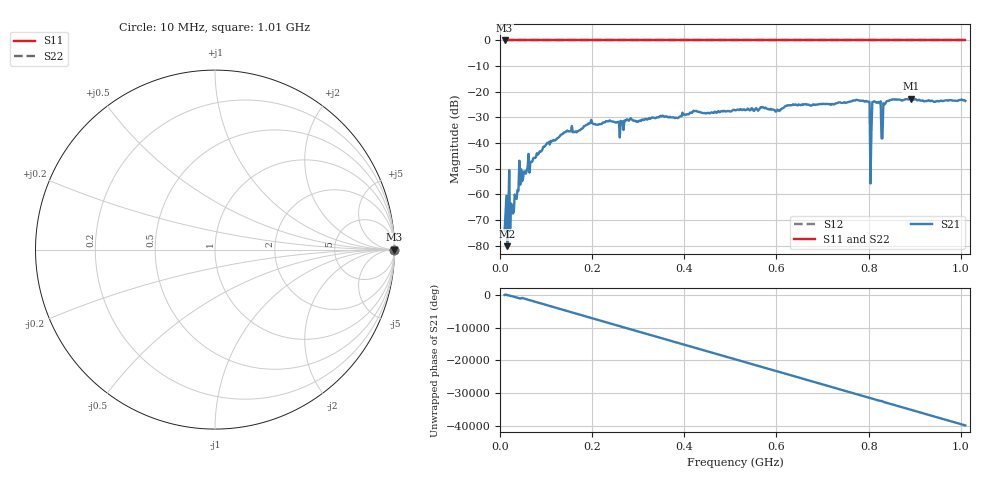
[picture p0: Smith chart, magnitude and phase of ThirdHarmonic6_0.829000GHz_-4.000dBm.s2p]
! 8/16/2025 3:31:11 AM
! C:\ANRITSUVNA\TEMP\TEMP.S2P
! CHANNEL.1
! TR.MEASUREMENT
! RAW.DATA
! RF.CORRECTION.OFF
! AVERAGING.OFF
! IF.BANDWIDTH: 5KHZ
! SWEEPTYPE:  FREQ.SWEEP(Linear)
! Reference Plane Port Info
! PORT:  PORT1  PORT2
! DISTANCE:  0  m  0  m
! TIME:  0  s  0  s
! PHASE.OFFSET:  0  deg.  0  deg.
! LOSS:  0  dB  0  dB
! REF.LOSS:  0  dB  0  dB
! REF.FREQ:  0  Hz  0  Hz
! Power Info
! POWER:  -20  dBm  -20  dBm
! EFF.POWER:  -20  dBm  -20  dBm
! SOURCE.ATTEN:  0  dB  0  dB
! TEST.ATTEN:  0  dB  0  dB
# GHZ S RI R 50.0
! FREQ.GHZ  S11RE  S11IM  S21RE  S21IM  S12RE  S12IM  S22RE  S22IM
!; PortSelection: Port_12
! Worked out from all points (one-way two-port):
!   501 points, 10 MHz to 1.01 GHz, reference 50 ohm
!   highest |S21| = -22.71 dB at 892 MHz (marker M1); lowest = -80.2 dB at 16 MHz (marker M2)
!   lowest |S11| = 0.0 dB at 10 MHz (marker M3)
!   |S11| at or under -10 dB: nowhere
!   |S22| runs from 0.0 to 0.0 dB; largest |S21 - S12| = 1.1
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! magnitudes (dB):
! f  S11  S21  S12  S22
! 10 MHz  0.0  -74.0  0.0  0.0
! 14 MHz  0.0  -60.5  0.0  0.0
! 16 MHz  0.0  -80.2  0.0  0.0
! 24 MHz  0.0  -63.5  0.0  0.0
! 26 MHz  0.0  -64.5  0.0  0.0
! 46 MHz  0.0  -50.2  0.0  0.0
! 98 MHz  0.0  -41.1  0.0  0.0
! 178 MHz  0.0  -34.4  0.0  0.0
! 344 MHz  0.0  -30.0  0.0  0.0
! 510 MHz  0.0  -27.2  0.0  0.0
! 678 MHz  0.0  -25.2  0.0  0.0
! 798 MHz  0.0  -23.9  0.0  0.0
! 802 MHz  0.0  -24.0  0.0  0.0
! 806 MHz  0.0  -36.0  0.0  0.0
! 812 MHz  0.0  -23.7  0.0  0.0
! 822 MHz  0.0  -24.0  0.0  0.0
! 826 MHz  0.0  -23.7  0.0  0.0
! 832 MHz  0.0  -24.5  0.0  0.0
! 836 MHz  0.0  -24.6  0.0  0.0
! 844 MHz  0.0  -23.5  0.0  0.0
! 892 MHz  0.0  -22.7  0.0  0.0
! 1.01 GHz  0.0  -23.5  0.0  0.0
